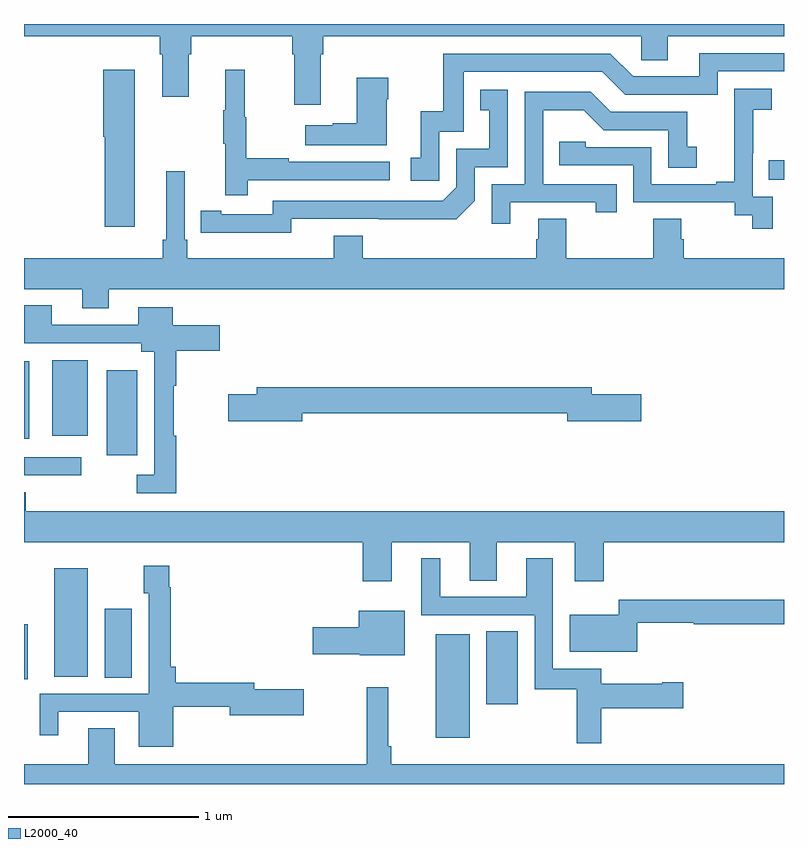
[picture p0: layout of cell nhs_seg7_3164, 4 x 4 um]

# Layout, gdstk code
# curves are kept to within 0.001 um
import gdstk
lib = gdstk.Library(unit=1e-6, precision=1e-09)
def R(c, l, rs):  # rectangles x0, y0, x1, y1
    for r in rs: c.add(gdstk.rectangle(r[:2], r[2:], *l))
def P(c, l, *ps):  # polygons
    for p in ps: c.add(gdstk.Polygon(p, *l))
L2000_40 = (2000, 40)

nhs_seg7_3164 = lib.new_cell('nhs_seg7_3164')
R(nhs_seg7_3164, L2000_40, [(315.167,1010.243,315.346,1010.788), (315.434,1010.42,315.598,1010.804), (313,1010.552,313.021,1010.842), (313.424,1010.56,313.567,1010.923), (313.16,1010.564,313.336,1011.136), (313,1011.624,313.3,1011.72), (313.436,1011.729,313.597,1012.177), (313,1011.818,313.027,1012.225), (313.148,1011.833,313.336,1012.231), (316.921,1013.181,317,1013.282)])
P(nhs_seg7_3164, L2000_40, [(314.563,1013.84),(314.576,1013.84),(314.576,1013.936),(316.248,1013.936),(316.248,1013.809),(316.387,1013.809),(316.387,1013.936),(317,1013.936),(317,1014),(313,1014),(313,1013.936),(313.715,1013.936),(313.715,1013.84),(313.727,1013.84),(313.727,1013.616),(313.867,1013.616),(313.867,1013.84),(313.88,1013.84),(313.88,1013.936),(314.411,1013.936),(314.411,1013.84),(314.423,1013.84),(314.423,1013.574),(314.563,1013.574)],
  [(315.186,1013.433),(315.315,1013.433),(315.315,1013.748),(316.044,1013.748),(316.164,1013.628),(316.65,1013.628),(316.65,1013.751),(317,1013.751),(317,1013.847),(316.553,1013.847),(316.553,1013.724),(316.206,1013.724),(316.086,1013.844),(315.207,1013.844),(315.207,1013.542),(315.089,1013.542),(315.089,1013.295),(315.036,1013.295),(315.036,1013.175),(315.186,1013.175)],
  [(314.177,1013.178),(314.926,1013.178),(314.926,1013.274),(314.393,1013.274),(314.393,1013.294),(314.17,1013.294),(314.17,1013.508),(314.162,1013.508),(314.162,1013.758),(314.06,1013.758),(314.06,1013.545),(314.049,1013.545),(314.049,1013.371),(314.06,1013.371),(314.06,1013.1),(314.177,1013.1)],
  [(313.582,1013.758),(313.418,1013.758),(313.418,1013.406),(313.424,1013.406),(313.424,1012.932),(313.582,1012.932)],
  [(314.908,1013.603),(314.916,1013.603),(314.916,1013.716),(314.75,1013.716),(314.75,1013.477),(314.624,1013.477),(314.624,1013.467),(314.481,1013.467),(314.481,1013.363),(314.908,1013.363)],
  [(316.941,1013.091),(316.836,1013.091),(316.836,1013.321),(316.838,1013.321),(316.838,1013.549),(316.936,1013.549),(316.936,1013.659),(316.738,1013.659),(316.738,1013.453),(316.739,1013.453),(316.739,1013.17),(316.643,1013.17),(316.643,1013.157),(316.302,1013.157),(316.302,1013.352),(315.957,1013.352),(315.957,1013.379),(315.817,1013.379),(315.817,1013.256),(316.206,1013.256),(316.206,1013.061),(316.74,1013.061),(316.74,1012.993),(316.833,1012.993),(316.833,1012.923),(316.941,1012.923)],
  [(314.406,1012.974),(315.274,1012.973),(315.372,1013.07),(315.372,1013.247),(315.546,1013.247),(315.546,1013.653),(315.4,1013.653),(315.4,1013.547),(315.449,1013.547),(315.449,1013.343),(315.276,1013.343),(315.276,1013.142),(315.204,1013.07),(314.31,1013.07),(314.31,1012.998),(314.038,1012.998),(314.038,1013.018),(313.93,1013.018),(313.93,1012.902),(314.406,1012.901)],
  [(315.559,1013.061),(316.01,1013.061),(316.01,1013.01),(316.121,1013.01),(316.121,1013.157),(315.732,1013.157),(315.732,1013.546),(315.946,1013.546),(316.05,1013.442),(316.392,1013.442),(316.392,1013.244),(316.54,1013.244),(316.54,1013.353),(316.491,1013.353),(316.491,1013.538),(316.087,1013.538),(315.982,1013.643),(315.636,1013.643),(315.636,1013.157),(315.462,1013.157),(315.462,1012.95),(315.559,1012.95)],
  [(313.447,1012.604),(317,1012.604),(317,1012.768),(316.472,1012.768),(316.472,1012.866),(316.459,1012.866),(316.459,1012.976),(316.312,1012.976),(316.312,1012.768),(315.855,1012.768),(315.855,1012.976),(315.707,1012.976),(315.707,1012.866),(315.695,1012.866),(315.695,1012.768),(314.783,1012.768),(314.783,1012.885),(314.63,1012.885),(314.63,1012.768),(313.859,1012.768),(313.859,1012.864),(313.845,1012.864),(313.845,1013.224),(313.748,1013.224),(313.748,1012.864),(313.729,1012.864),(313.729,1012.768),(313,1012.768),(313,1012.604),(313.307,1012.604),(313.307,1012.505),(313.447,1012.505)],
  [(313.802,1011.834),(313.787,1011.834),(313.787,1012.096),(313.802,1012.096),(313.802,1012.28),(314.029,1012.28),(314.029,1012.414),(313.783,1012.414),(313.783,1012.51),(313.601,1012.51),(313.601,1012.416),(313.147,1012.416),(313.147,1012.519),(313,1012.519),(313,1012.32),(313.616,1012.32),(313.616,1012.274),(313.686,1012.274),(313.686,1011.627),(313.593,1011.627),(313.593,1011.531),(313.802,1011.531)],
  [(314.464,1011.952),(315.86,1011.952),(315.86,1011.91),(316.249,1011.91),(316.249,1012.052),(315.988,1012.052),(315.988,1012.088),(314.225,1012.088),(314.225,1012.052),(314.076,1012.052),(314.076,1011.91),(314.464,1011.91)],
  [(314.935,1011.272),(315.347,1011.272),(315.347,1011.07),(315.487,1011.07),(315.487,1011.272),(315.899,1011.272),(315.899,1011.066),(316.052,1011.066),(316.052,1011.272),(317,1011.272),(317,1011.436),(313.01,1011.436),(313.01,1011.535),(313,1011.535),(313,1011.272),(314.783,1011.272),(314.783,1011.066),(314.935,1011.066)],
  [(316.037,1010.398),(316.471,1010.398),(316.471,1010.535),(316.358,1010.535),(316.358,1010.527),(316.037,1010.527),(316.037,1010.607),(315.783,1010.607),(315.783,1011.187),(315.644,1011.187),(315.644,1010.985),(315.19,1010.985),(315.19,1011.187),(315.092,1011.187),(315.092,1010.889),(315.687,1010.889),(315.687,1010.499),(315.909,1010.499),(315.909,1010.214),(316.037,1010.214)],
  [(313.786,1010.406),(314.084,1010.406),(314.084,1010.363),(314.473,1010.363),(314.473,1010.498),(314.212,1010.498),(314.212,1010.534),(313.799,1010.534),(313.799,1010.617),(313.772,1010.617),(313.772,1011.035),(313.765,1011.035),(313.765,1011.148),(313.63,1011.148),(313.63,1011.003),(313.656,1011.003),(313.656,1010.475),(313.082,1010.475),(313.082,1010.256),(313.18,1010.256),(313.18,1010.379),(313.604,1010.379),(313.604,1010.195),(313.786,1010.195)],
  [(316.227,1010.85),(316.524,1010.85),(316.524,1010.842),(317,1010.842),(317,1010.971),(316.131,1010.971),(316.131,1010.89),(315.872,1010.89),(315.872,1010.696),(316.227,1010.696)],
  [(315.004,1010.911),(314.762,1010.911),(314.762,1010.826),(314.52,1010.826),(314.52,1010.684),(314.766,1010.684),(314.766,1010.678),(315.004,1010.678)],
  [(317,1010.104),(314.933,1010.104),(314.933,1010.2),(314.916,1010.2),(314.916,1010.509),(314.805,1010.509),(314.805,1010.104),(313.477,1010.104),(313.477,1010.294),(313.337,1010.294),(313.337,1010.104),(313,1010.104),(313,1010),(317,1010)])

lib.write_gds('nhs_seg7_3164.gds')
